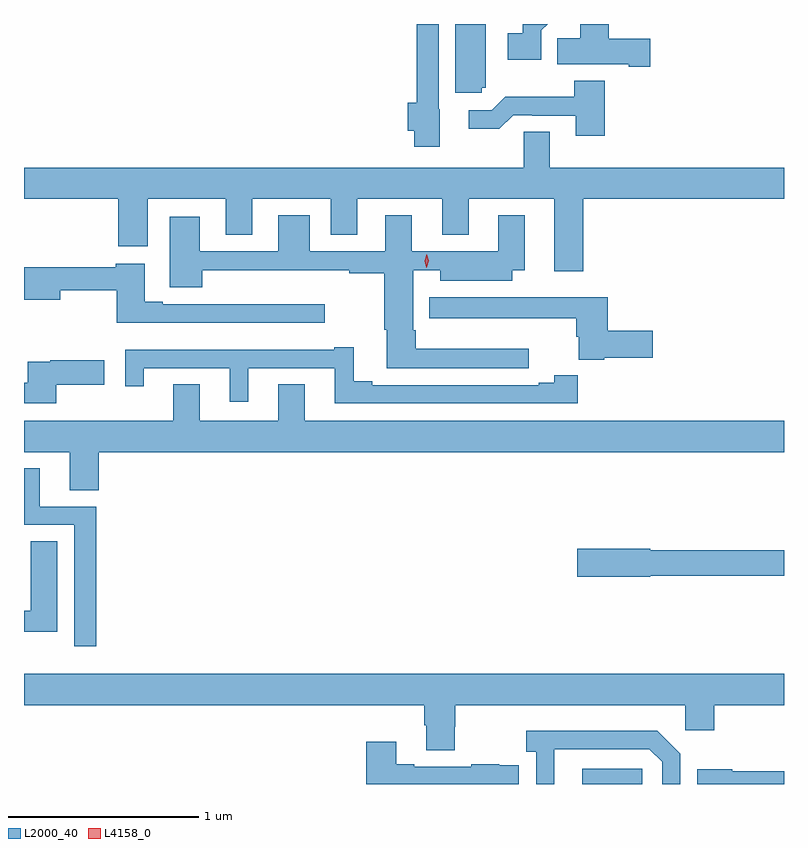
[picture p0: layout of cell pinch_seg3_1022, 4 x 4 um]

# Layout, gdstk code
import gdstk
lib = gdstk.Library(unit=1e-6, precision=1e-09)
def R(c, l, rs):  # rectangles x0, y0, x1, y1
    for r in rs: c.add(gdstk.rectangle(r[:2], r[2:], *l))
def P(c, l, *ps):  # polygons
    for p in ps: c.add(gdstk.Polygon(p, *l))
L2000_40 = (2000, 40)
L4158_0 = (4158, 0)

pinch_seg3_1022 = lib.new_cell('pinch_seg3_1022')
R(pinch_seg3_1022, L2000_40, [(583.167,700.501,583.482,700.581)])
P(pinch_seg3_1022, L2000_40, [(583.525,704.423),(583.307,704.423),(583.307,704.501),(583.157,704.501),(583.157,704.426),(583.036,704.426),(583.036,704.288),(583.412,704.288),(583.412,704.276),(583.525,704.276)],
  [(582.418,704.052),(582.411,704.052),(582.411,704.501),(582.295,704.501),(582.295,704.087),(582.248,704.087),(582.248,703.938),(582.282,703.938),(582.282,703.856),(582.418,703.856)],
  [(582.639,704.166),(582.658,704.166),(582.658,704.501),(582.5,704.501),(582.5,704.139),(582.639,704.139)],
  [(582.951,704.467),(582.985,704.501),(582.854,704.501),(582.854,704.452),(582.774,704.452),(582.774,704.312),(582.951,704.312)],
  [(583.286,704.203),(583.126,704.203),(583.126,704.119),(582.763,704.119),(582.69,704.046),(582.57,704.046),(582.57,703.949),(582.731,703.949),(582.804,704.022),(582.904,704.022),(582.904,704.019),(583.133,704.019),(583.133,703.914),(583.286,703.914)],
  [(583.172,703.58),(584.229,703.58),(584.229,703.744),(582.997,703.744),(582.997,703.934),(582.858,703.934),(582.858,703.744),(580.229,703.744),(580.229,703.58),(580.724,703.58),(580.724,703.332),(580.879,703.332),(580.879,703.58),(581.291,703.58),(581.291,703.391),(581.431,703.391),(581.431,703.58),(581.843,703.58),(581.843,703.391),(581.983,703.391),(581.983,703.58),(582.431,703.58),(582.431,703.391),(582.571,703.391),(582.571,703.58),(583.019,703.58),(583.019,703.2),(583.172,703.2)],
  [(582.886,702.793),(582.29,702.793),(582.29,702.889),(582.277,702.889),(582.277,703.205),(582.419,703.205),(582.419,703.151),(582.799,703.151),(582.799,703.205),(582.865,703.205),(582.865,703.495),(582.725,703.495),(582.725,703.306),(582.271,703.306),(582.271,703.495),(582.131,703.495),(582.131,703.306),(581.734,703.306),(581.734,703.495),(581.567,703.495),(581.567,703.306),(581.155,703.306),(581.155,703.486),(580.997,703.486),(580.997,703.116),(581.168,703.116),(581.168,703.205),(581.941,703.205),(581.941,703.188),(582.125,703.188),(582.125,702.893),(582.137,702.893),(582.137,702.689),(582.886,702.689)],
  [(581.812,703.027),(581.251,703.027),(581.251,703.026),(580.96,703.026),(580.96,703.039),(580.864,703.039),(580.864,703.24),(580.712,703.24),(580.712,703.222),(580.229,703.222),(580.229,703.051),(580.42,703.051),(580.42,703.101),(580.717,703.101),(580.717,702.929),(581.812,702.929)],
  [(583.284,702.745),(583.537,702.745),(583.537,702.887),(583.301,702.887),(583.301,703.063),(582.362,703.063),(582.362,702.953),(583.136,702.953),(583.136,702.856),(583.148,702.856),(583.148,702.734),(583.284,702.734)],
  [(583.144,702.652),(583.019,702.652),(583.019,702.613),(582.938,702.613),(582.938,702.6),(582.061,702.6),(582.061,702.62),(581.965,702.62),(581.965,702.799),(581.861,702.799),(581.861,702.787),(580.761,702.787),(580.761,702.594),(580.858,702.594),(580.858,702.69),(581.312,702.69),(581.312,702.513),(581.41,702.513),(581.41,702.69),(581.864,702.69),(581.864,702.504),(583.144,702.504)],
  [(580.398,702.602),(580.651,702.602),(580.651,702.732),(580.366,702.732),(580.366,702.724),(580.25,702.724),(580.25,702.613),(580.229,702.613),(580.229,702.504),(580.398,702.504)],
  [(580.622,702.248),(584.229,702.248),(584.229,702.412),(581.707,702.412),(581.707,702.605),(581.567,702.605),(581.567,702.412),(581.155,702.412),(581.155,702.605),(581.015,702.605),(581.015,702.412),(580.229,702.412),(580.229,702.248),(580.469,702.248),(580.469,702.046),(580.622,702.046)],
  [(580.61,701.961),(580.312,701.961),(580.312,702.163),(580.229,702.163),(580.229,701.865),(580.494,701.865),(580.494,701.226),(580.61,701.226)],
  [(580.405,701.779),(580.265,701.779),(580.265,701.413),(580.229,701.413),(580.229,701.302),(580.405,701.302)],
  [(583.524,701.596),(584.229,701.596),(584.229,701.732),(583.524,701.732),(583.524,701.738),(583.14,701.738),(583.14,701.591),(583.524,701.591)],
  [(582.495,700.803),(582.5,700.803),(582.5,700.916),(583.71,700.916),(583.71,700.785),(583.862,700.785),(583.862,700.916),(584.229,700.916),(584.229,701.08),(580.229,701.08),(580.229,700.916),(582.335,700.916),(582.335,700.81),(582.347,700.81),(582.347,700.678),(582.495,700.678)],
  [(583.021,700.683),(583.521,700.683),(583.587,700.617),(583.587,700.501),(583.683,700.501),(583.683,700.659),(583.562,700.78),(582.873,700.78),(582.873,700.67),(582.924,700.67),(582.924,700.501),(583.021,700.501)],
  [(582.833,700.599),(582.731,700.599),(582.731,700.606),(582.583,700.606),(582.583,700.593),(582.283,700.593),(582.283,700.606),(582.187,700.606),(582.187,700.723),(582.031,700.723),(582.031,700.501),(582.833,700.501)],
  [(584.229,700.569),(583.956,700.569),(583.956,700.579),(583.772,700.579),(583.772,700.501),(584.229,700.501)])
P(pinch_seg3_1022, L4158_0, [(582.347,703.219),(582.347,703.22),(582.339,703.255),(582.35,703.289),(582.35,703.29),(582.35,703.289),(582.359,703.254),(582.348,703.22)])

lib.write_gds('pinch_seg3_1022.gds')
